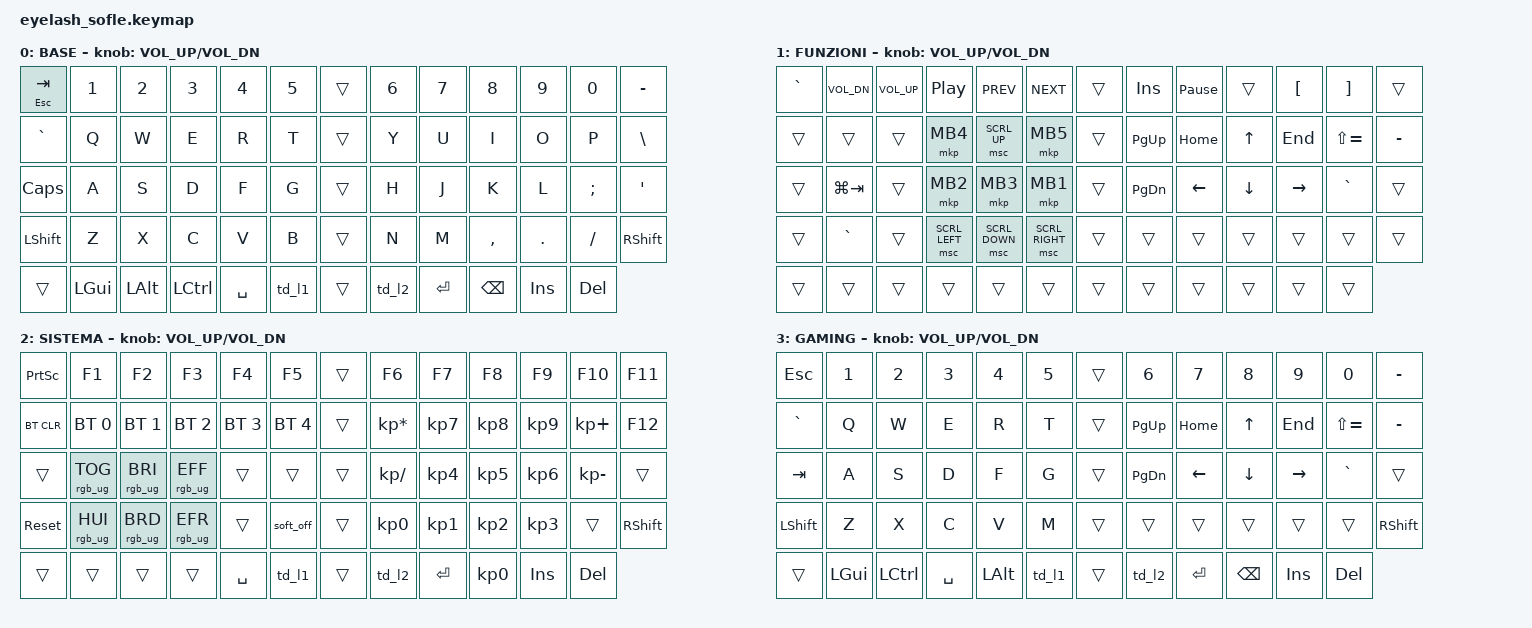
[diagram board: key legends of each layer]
#define ZMK_POINTING_DEFAULT_MOVE_VAL 1200
#define ZMK_POINTING_DEFAULT_SCRL_VAL 25

#include <input/processors.dtsi>
#include <zephyr/dt-bindings/input/input-event-codes.h>
#include <behaviors.dtsi>
#include <dt-bindings/zmk/bt.h>
#include <dt-bindings/zmk/keys.h>
#include <dt-bindings/zmk/outputs.h>
#include <dt-bindings/zmk/pointing.h>
#include <dt-bindings/zmk/rgb.h>

// ╔══════════════════════════════════════════════════════════════════╗
// ║  Eyelash Sofle — Keymap personalizzato                          ║
// ║  Layout: US International (Windows)                             ║
// ║                                                                  ║
// ║  Layer 0 — BASE        (sempre attivo)                          ║
// ║  Layer 1 — FUNZIONI    (tieni L1)                               ║
// ║  Layer 2 — SISTEMA     (tap L2)   → LED arcobaleno              ║
// ║  Layer 3 — GAMING      (triplo tap L1)                          ║
// ╚══════════════════════════════════════════════════════════════════╝
//
// Tasti pollice sx (interno→esterno): L1, SPACE, CTRL, ALT, GUI
// Tasti pollice dx (interno→esterno): L2, ENTER, BSPC, INS, DEL
//
// Accenti con US International (dead keys nativi):
//   ` poi a/e/i/o/u → à/è/ì/ò/ù  |  ' poi e → é  |  ~ poi n → ñ
//   Dead key ` = TAB (layer 0)  |  Dead key ~ = L1+Shift+ESC
//
// Layer 0: ESC = tap→TAB, hold→ESC  |  TAB = dead grave `
//
// Layer 1 navigazione:
//   Y=PG UP  U=Home  I=↑  O=End
//   H=PG DN  J=←    K=↓  L=→
//
// Tasto L1:  tieni = layer 1 momentaneo
//            triplo tap = tog 3 (gaming on/off)
// Tasto L2:  tap = tog 2 + LED arcobaleno on
//            doppio tap = tog 2 + LED off

&mmv_input_listener { input-processors = <&zip_xy_scaler 2 1>; };
&msc_input_listener { input-processors = <&zip_scroll_scaler 2 1>; };

&msc {
    acceleration-exponent = <1>;
    time-to-max-speed-ms = <100>;
    delay-ms = <0>;
};

&mmv {
    time-to-max-speed-ms = <500>;
    acceleration-exponent = <1>;
    trigger-period-ms = <16>;
};

&soft_off { hold-time-ms = <2000>; };

/ {
    macros {
        // Attiva layer 2 + accende LED arcobaleno
        l2_on: l2_on {
            compatible = "zmk,behavior-macro";
            #binding-cells = <0>;
            bindings
                = <&macro_tap &rgb_ug RGB_TOG>
                , <&macro_tap &tog 2>
                ;
        };

        // Disattiva layer 2 + spegne LED
        l2_off: l2_off {
            compatible = "zmk,behavior-macro";
            #binding-cells = <0>;
            bindings
                = <&macro_tap &rgb_ug RGB_TOG>
                , <&macro_tap &tog 2>
                ;
        };
    };

    behaviors {
        // ESC: tap = TAB, hold = ESC
        ht_esc: hold_tap_esc {
            compatible = "zmk,behavior-hold-tap";
            #binding-cells = <2>;
            tapping-term-ms = <200>;
            flavor = "tap-preferred";
            bindings = <&kp>, <&kp>;
        };

        // L1: tieni = mo 1 momentaneo, triplo tap = tog 3 gaming
        td_l1: tap_dance_l1 {
            compatible = "zmk,behavior-tap-dance";
            #binding-cells = <0>;
            tapping-term-ms = <250>;
            bindings = <&mo 1>, <&mo 1>, <&tog 3>;
        };

        // L2: tap singolo = l2_on, doppio tap = l2_off
        td_l2: tap_dance_l2 {
            compatible = "zmk,behavior-tap-dance";
            #binding-cells = <0>;
            tapping-term-ms = <300>;
            bindings = <&l2_on>, <&l2_off>;
        };
    };

    combos {
        compatible = "zmk,combos";
        softoff_combo {
            bindings = <&soft_off>;
            key-positions = <14 28 40>;
        };
    };

    keymap {
        compatible = "zmk,keymap";

        // ══════════════════════════════════════════════════════════
        // LAYER 0 — BASE
        // Modifiche rispetto a prima:
        // - ESC → hold-tap (tap=TAB, hold=ESC)
        // - TAB → dead grave `
        // - BSPC in alto dx → MINUS
        // - Pollice dx: L2, SPACE, BSPC, INSERT, DEL
        // ══════════════════════════════════════════════════════════
        layer0 {
            display-name = "BASE";
            bindings = <
&ht_esc ESC TAB  &kp N1    &kp N2    &kp N3    &kp N4    &kp N5    &trans   &kp N6    &kp N7    &kp N8    &kp N9    &kp N0    &kp MINUS
&kp GRAVE        &kp Q     &kp W     &kp E     &kp R     &kp T     &trans   &kp Y     &kp U     &kp I     &kp O     &kp P     &kp BSLH
&kp CAPS         &kp A     &kp S     &kp D     &kp F     &kp G     &trans   &kp H     &kp J     &kp K     &kp L     &kp SEMI  &kp APOS
&kp LSHFT        &kp Z     &kp X     &kp C     &kp V     &kp B     &trans   &kp N     &kp M     &kp COMMA &kp DOT   &kp FSLH  &kp RSHFT
&trans           &kp LGUI  &kp LALT  &kp LCTRL &kp SPACE &td_l1    &trans   &td_l2    &kp RET   &kp BSPC  &kp INS   &kp DEL
            >;
            sensor-bindings = <&inc_dec_kp C_VOL_UP C_VOL_DN>;
        };

        // ══════════════════════════════════════════════════════════
        // LAYER 1 — FUNZIONI (tieni L1)
        // ══════════════════════════════════════════════════════════
        layer1 {
            display-name = "FUNZIONI";
            bindings = <
&kp GRAVE      &kp C_VOL_DN    &kp C_VOL_UP    &kp C_PP        &kp C_PREV      &kp C_NEXT      &trans   &kp INS         &kp PAUSE_BREAK &trans          &kp LBKT        &kp RBKT        &trans
&trans         &trans          &trans          &mkp MB4        &msc SCRL_UP    &mkp MB5        &trans   &kp PG_UP       &kp HOME        &kp UP          &kp END         &kp LS(EQUAL)   &kp MINUS
&trans         &kp LG(TAB)     &trans          &mkp MB2        &mkp MB3        &mkp MB1        &trans   &kp PG_DN       &kp LEFT        &kp DOWN        &kp RIGHT       &kp GRAVE       &trans
&trans         &kp GRAVE       &trans          &msc SCRL_LEFT  &msc SCRL_DOWN  &msc SCRL_RIGHT &trans   &trans          &trans          &trans          &trans          &trans          &trans
&trans         &trans          &trans          &trans          &trans          &trans          &trans   &trans          &trans          &trans          &trans          &trans
            >;
            sensor-bindings = <&inc_dec_kp C_VOL_UP C_VOL_DN>;
        };

        // ══════════════════════════════════════════════════════════
        // LAYER 2 — SISTEMA (tap L2) → LED arcobaleno
        // Pollice dx aggiornato: L2, SPACE, BSPC, INSERT, DEL
        // ══════════════════════════════════════════════════════════
        layer2 {
            display-name = "SISTEMA";
            bindings = <
&kp PSCRN      &kp F1          &kp F2          &kp F3          &kp F4           &kp F5          &trans   &kp F6           &kp F7          &kp F8          &kp F9          &kp F10         &kp F11
&bt BT_CLR     &bt BT_SEL 0    &bt BT_SEL 1    &bt BT_SEL 2    &bt BT_SEL 3     &bt BT_SEL 4    &trans   &kp KP_MULTIPLY  &kp KP_N7       &kp KP_N8       &kp KP_N9       &kp KP_PLUS     &kp F12
&trans         &rgb_ug RGB_TOG &rgb_ug RGB_BRI &rgb_ug RGB_EFF &trans           &trans          &trans   &kp KP_DIVIDE    &kp KP_N4       &kp KP_N5       &kp KP_N6       &kp KP_MINUS    &trans
&sys_reset     &rgb_ug RGB_HUI &rgb_ug RGB_BRD &rgb_ug RGB_EFR &trans           &soft_off       &trans   &kp KP_N0        &kp KP_N1       &kp KP_N2       &kp KP_N3       &trans          &kp RSHFT
&trans         &trans          &trans          &trans          &kp SPACE        &td_l1          &trans   &td_l2           &kp RET         &kp KP_N0       &kp INS         &kp DEL
            >;
            sensor-bindings = <&inc_dec_kp C_VOL_UP C_VOL_DN>;
        };

        // ══════════════════════════════════════════════════════════
        // LAYER 3 — GAMING (triplo tap L1)
        // Sx: QWERTY con TAB↔CAPS, B→M, CTRL↔SPACE
        // Dx: navigazione dal layer 1
        // ══════════════════════════════════════════════════════════
        layer3 {
            display-name = "GAMING";
            bindings = <
&kp ESC    &kp N1    &kp N2    &kp N3    &kp N4    &kp N5    &trans   &kp N6    &kp N7    &kp N8    &kp N9    &kp N0    &kp MINUS
&kp GRAVE  &kp Q     &kp W     &kp E     &kp R     &kp T     &trans   &kp PG_UP &kp HOME  &kp UP    &kp END   &kp LS(EQUAL) &kp MINUS
&kp TAB    &kp A     &kp S     &kp D     &kp F     &kp G     &trans   &kp PG_DN &kp LEFT  &kp DOWN  &kp RIGHT &kp GRAVE &trans
&kp LSHFT  &kp Z     &kp X     &kp C     &kp V     &kp M     &trans   &trans    &trans    &trans    &trans    &trans    &kp RSHFT
&trans     &kp LGUI  &kp LCTRL &kp SPACE &kp LALT  &td_l1    &trans   &td_l2    &kp RET   &kp BSPC  &kp INS   &kp DEL
            >;
            sensor-bindings = <&inc_dec_kp C_VOL_UP C_VOL_DN>;
        };
    };
};
